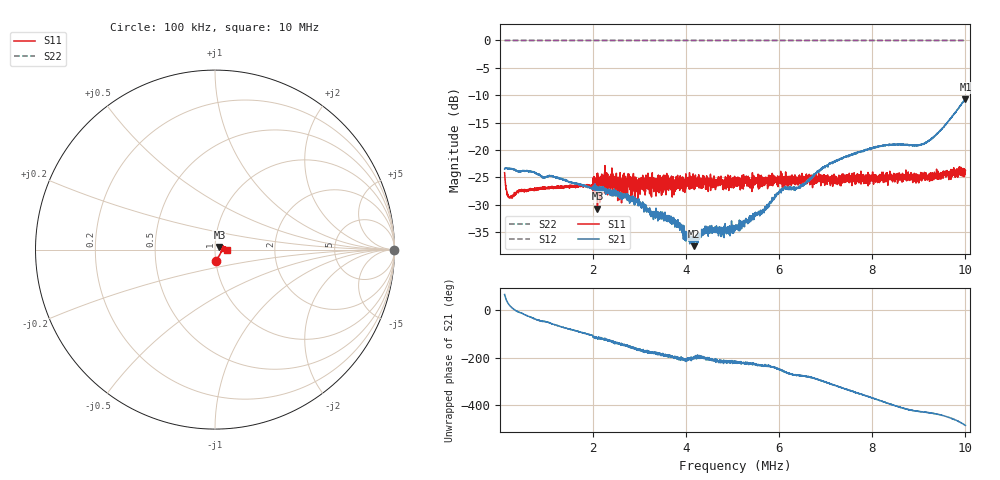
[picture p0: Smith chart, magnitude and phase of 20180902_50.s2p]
! Anritsu VNA Master:  Model: MS2026C/19
! SN:  1815009
! /card0/usr/20180902_50.s2p
! Existing Calibration Information:
! TYPE:  Current Settings,  Active Cal Settings
! TIME:  09/03/2018 01:39:11 AM,  09/02/2018 11:58:48 AM
! INTERNAL TEMP:  47.8 C,  48.8 C
! # POINTS:  4001,  4001
! START FREQ:  100.000 kHz,  100.000 kHz
! STOP FREQ:  10.000 MHz,  10.000 MHz
! SOURCE POWER:  Low,  Low
! IFBW:  500 Hz,  500 Hz
! AVG FACTOR:  5 ,  1
! REF PLANE 1:  0 mm,  0 mm
! REF PLANE 2:  0 mm,  0 mm
! CAL TYPE:  1P2P S11,S21,  1P2P S11,S21
! CAL METHOD:  SOLT,  SOLT
! CAL LINE TYPE:  Coax,  Coax
! DUT PORT 1:  N-Conn(M),  N-Conn(M)
! DUT PORT 2:  N-Conn(M),  N-Conn(M)
! CAL STATUS:  OK: Accuracy High,  --
# GHZ S RI R 50.0
! FREQ.GHZ  S11RE  S11IM  S21RE  S21IM  S12RE  S12IM  S22RE  S22IM
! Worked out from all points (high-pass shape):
!   4001 points, 100 kHz to 10 MHz, reference 50 ohm
!   highest |S21| = -10.73 dB at 10 MHz (marker M1); lowest = -37.5 dB at 4.166 MHz (marker M2)
!   |S21| within 3 dB of the highest: 9.73 MHz to end of sweep
!   lowest |S11| = -30.7 dB at 2.095 MHz (marker M3), VSWR 1.06, Z = 52.5 + j1.61 ohm
!   |S11| at or under -10 dB: start of sweep to end of sweep
!   |S22| runs from 0.0 to 0.0 dB; largest |S21 - S12| = 1.2
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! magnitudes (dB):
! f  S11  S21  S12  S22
! 100 kHz  -24.1  -23.5  0.0  0.0
! 166.8 kHz  -28.2  -23.4  0.0  0.0
! 221.3 kHz  -28.4  -23.4  0.0  0.0
! 449 kHz  -27.6  -23.9  0.0  0.0
! 1.751 MHz  -26.5  -26.4  0.0  0.0
! 2.095 MHz  -30.7  -27.2  0.0  0.0
! 2.719 MHz  -26.9  -28.6  0.0  0.0
! 3.402 MHz  -27.4  -32.4  0.0  0.0
! 3.768 MHz  -26.0  -32.8  0.0  0.0
! 4.097 MHz  -25.6  -36.3  0.0  0.0
! 4.166 MHz  -25.7  -37.5  0.0  0.0
! 4.421 MHz  -26.4  -34.6  0.0  0.0
! 5.05 MHz  -25.1  -33.8  0.0  0.0
! 5.632 MHz  -25.9  -31.2  0.0  0.0
! 6.075 MHz  -25.3  -27.3  0.0  0.0
! 6.399 MHz  -26.1  -26.8  0.0  0.0
! 6.701 MHz  -25.5  -25.1  0.0  0.0
! 7.396 MHz  -25.2  -21.3  0.0  0.0
! 8.352 MHz  -24.5  -19.0  0.0  0.0
! 9.154 MHz  -24.3  -18.6  0.0  0.0
! 9.503 MHz  -24.4  -16.0  0.0  0.0
! 10 MHz  -23.7  -10.7  0.0  0.0
